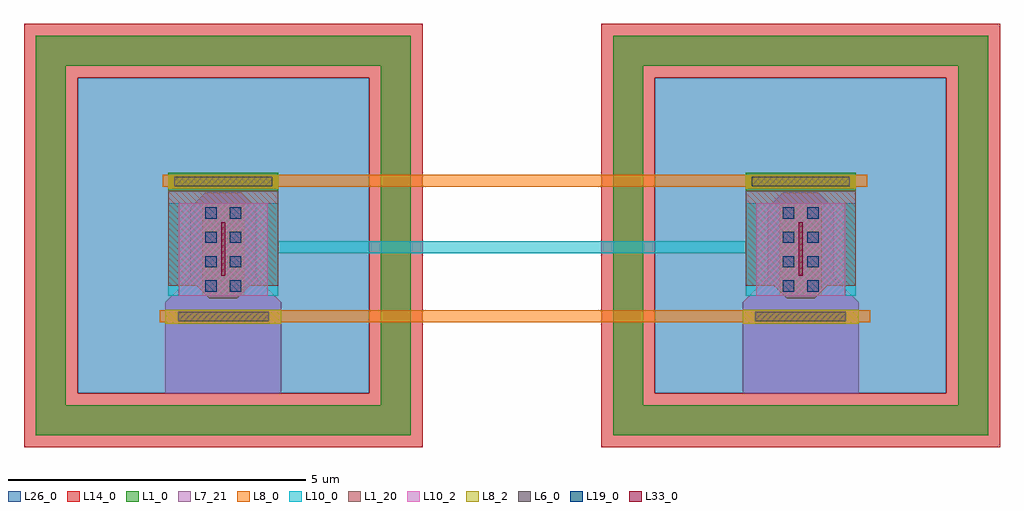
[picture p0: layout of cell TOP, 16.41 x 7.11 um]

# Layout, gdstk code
import gdstk
lib = gdstk.Library(unit=1e-6, precision=1e-09)
def R(c, l, rs):  # rectangles x0, y0, x1, y1
    for r in rs: c.add(gdstk.rectangle(r[:2], r[2:], *l))
def A(c, l, x, y, w, h, nx, ny, dx, dy):  # array of equal rectangles
    R(c, l, [(x+i*dx, y+j*dy, x+i*dx+w, y+j*dy+h) for i in range(nx) for j in range(ny)])
def P(c, l, *ps):  # polygons
    for p in ps: c.add(gdstk.Polygon(p, *l))
L1_0 = (1, 0)
L1_20 = (1, 20)
L6_0 = (6, 0)
L7_21 = (7, 21)
L8_0 = (8, 0)
L8_2 = (8, 2)
L10_0 = (10, 0)
L10_2 = (10, 2)
L14_0 = (14, 0)
L19_0 = (19, 0)
L26_0 = (26, 0)
L33_0 = (33, 0)

npn13g2 = lib.new_cell('npn13G2')
R(npn13g2, L1_0, [(-0.925,0.98,0.925,1.28)])
P(npn13g2, L1_0, [(-3.15,-3.13),(-3.15,3.58),(2.65,3.58),(2.65,3.08),(-2.65,3.08),(-2.65,-2.63),(2.65,-2.63),(2.65,3.58),(3.15,3.58),(3.15,-3.13)])
P(npn13g2, L1_20, [(-0.235,-0.83),(-0.445,-0.62),(-0.925,-0.62),(-0.925,0.98),(0.925,0.98),(0.925,-0.62),(0.445,-0.62),(0.235,-0.83)])
R(npn13g2, L6_0, [(-0.76,-1.22,0.76,-1.06), (-0.825,1.05,0.825,1.21)])
P(npn13g2, L7_21, [(-0.975,-2.43),(-0.975,-0.9),(-0.555,-0.48),(-0.555,0.69),(-0.305,0.94),(0.305,0.94),(0.555,0.69),(0.555,-0.48),(0.975,-0.9),(0.975,-2.43)])
R(npn13g2, L8_0, [(-0.975,-1.26,0.975,-1.02), (-0.35,-0.785,0.35,0.77), (-0.925,1.01,0.925,1.25)])
R(npn13g2, L8_2, [(-0.975,-1.26,0.975,-1.02), (-0.925,1.01,0.925,1.25)])
R(npn13g2, L10_0, [(-0.925,-0.785,0.925,0.77)])
R(npn13g2, L10_2, [(-0.745,-0.785,0.745,0.77)])
P(npn13g2, L14_0, [(-3.35,-3.33),(-3.35,3.78),(2.45,3.78),(2.45,2.88),(-2.45,2.88),(-2.45,-2.43),(2.45,-2.43),(2.45,3.78),(3.35,3.78),(3.35,-3.33)])
A(npn13g2, L19_0, -0.3, -0.72, 0.19, 0.19, 1, 4, 0, 0.41)
A(npn13g2, L19_0, 0.11, -0.72, 0.19, 0.19, 1, 4, 0, 0.41)
R(npn13g2, L26_0, [(-2.45,-2.43,2.45,2.88)])
R(npn13g2, L33_0, [(-0.035,-0.45,0.035,0.45)])
npn13g2.add(gdstk.Label('npn13G2', (0.015,2.31), layer=63, texttype=0))
npn13g2.add(gdstk.Label('C', (0,1.13), layer=63, texttype=0))
npn13g2.add(gdstk.Label('B', (0,-1.14), layer=63, texttype=0))
npn13g2.add(gdstk.Label('E', (0,-0.007), layer=63, texttype=0))
npn13g2.add(gdstk.Label('Ae=1*1*0.07*0.90', (-1.977,-2.546), layer=63, texttype=0))

top = lib.new_cell('TOP')
top.add(gdstk.FlexPath([(10.785,1.145),(22.625,1.145)], 0.2, ends="flush", simple_path=True, layer=8, datatype=0))  # L8_0
top.add(gdstk.FlexPath([(22.675,-1.13),(10.735,-1.13)], 0.2, ends="flush", simple_path=True, layer=8, datatype=0))  # L8_0
top.add(gdstk.FlexPath([(11.615,0.028),(21.81,0.028)], 0.2, ends="flush", simple_path=True, layer=10, datatype=0))  # L10_0
top.add(gdstk.Reference(npn13g2, (11.8,0)))
top.add(gdstk.Reference(npn13g2, (21.505,0)))

lib.write_gds('TOP.gds')
